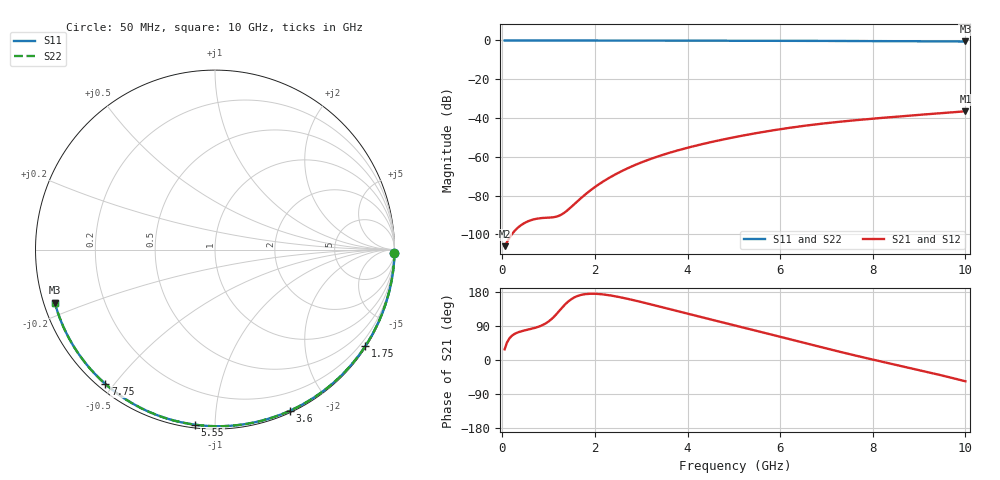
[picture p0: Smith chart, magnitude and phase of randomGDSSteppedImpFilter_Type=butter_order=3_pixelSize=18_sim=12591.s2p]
! freq	dB(S11)	phase(S11)	dB(S12)	phase(S12)
!  dB(S21)	phase(S21)	dB(S22)	phase(S22)
!S-par simulation data
#  GHz  S  DB  R 50
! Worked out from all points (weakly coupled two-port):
!   200 points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, 50 MHz to 10 GHz, reference 50 ohm
!   highest |S21| = -36.55 dB at 10 GHz (marker M1); lowest = -106.1 dB at 50 MHz (marker M2)
!   lowest |S11| = -0.5 dB at 10 GHz (marker M3), VSWR 32.53, Z = 1.58 - j8.08 ohm
!   |S11| at or under -10 dB: nowhere
!   |S22| runs from -0.5 to 0.0 dB; largest |S21 - S12| = 0
!   S11 on the Smith chart (normalised r, x): 50 MHz: open; 1.75 GHz: 0.03, -3.42; 3.6 GHz: 0.02, -1.57; 5.55 GHz: 0.02, -0.89; 7.75 GHz: 0.02, -0.48; 10 GHz: 0.03, -0.16
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0.05  -0.00 -1.0  -106.08 28.2  -106.08 28.2  -0.00 -1.0
0.45  -0.01 -8.5  -94.56 77.1  -94.56 77.1  -0.01 -8.5
0.85  -0.02 -16.0  -91.58 91.1  -91.58 91.1  -0.02 -16.0
1.3  -0.03 -24.4  -89.48 139.3  -89.48 139.3  -0.03 -24.4
1.75  -0.04 -32.6  -80.26 173.0  -80.26 173.0  -0.04 -32.6
2.15  -0.05 -39.9  -73.16 173.4  -73.16 173.4  -0.05 -39.9
2.3  -0.05 -42.5  -70.96 171.0  -70.96 171.0  -0.05 -42.5
2.5  -0.06 -46.1  -68.33 166.7  -68.33 166.7  -0.06 -46.1
2.9  -0.07 -53.1  -63.89 156.0  -63.89 156.0  -0.07 -53.1
3.15  -0.08 -57.5  -61.56 148.5  -61.56 148.5  -0.08 -57.5
3.4  -0.08 -61.7  -59.50 140.8  -59.50 140.8  -0.08 -61.7
3.6  -0.09 -65.1  -58.00 134.6  -58.00 134.6  -0.09 -65.1
4.25  -0.11 -75.9  -53.84 114.6  -53.84 114.6  -0.11 -75.9
5.05  -0.14 -88.8  -49.71 90.4  -49.71 90.4  -0.14 -88.8
5.55  -0.16 -96.6  -47.52 75.1  -47.52 75.1  -0.16 -96.6
6.1  -0.19 -104.9  -45.41 58.1  -45.41 58.1  -0.19 -104.9
6.7  -0.22 -113.9  -43.48 39.5  -43.48 39.5  -0.22 -113.9
7.2  -0.25 -121.2  -42.13 24.3  -42.13 24.3  -0.25 -121.2
7.75  -0.30 -129.2  -40.86 8.2  -40.86 8.2  -0.30 -129.2
8.35  -0.35 -137.8  -39.63 -8.7  -39.63 -8.7  -0.35 -137.8
9.2  -0.44 -150.0  -38.00 -32.3  -38.00 -32.3  -0.44 -150.0
10  -0.53 -161.6  -36.55 -56.2  -36.55 -56.2  -0.53 -161.6
